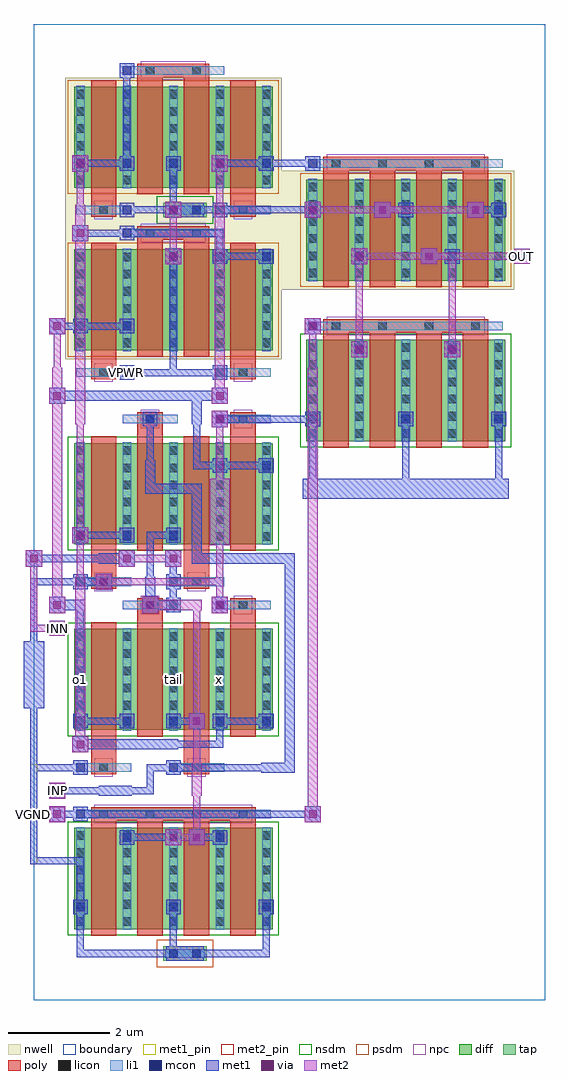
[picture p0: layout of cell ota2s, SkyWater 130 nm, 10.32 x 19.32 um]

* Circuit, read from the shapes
.subckt ota2s INN INP OUT VBN VGND VPWR o1 tail x
XM1 tail VBN VGND VGND sky130_fd_pr__nfet_01v8 w=2 l=0.5 m=4
XM2 o1 VGND o1 VGND sky130_fd_pr__nfet_01v8 w=2 l=0.5 m=2
XM3 x VGND x VGND sky130_fd_pr__nfet_01v8 w=2 l=0.5 m=2
XM4 tail INN o1 VGND sky130_fd_pr__nfet_01v8 w=2 l=0.5 m=2
XM5 tail INP x VGND sky130_fd_pr__nfet_01v8 w=2 l=0.5 m=2
XM6 OUT VBN VGND VGND sky130_fd_pr__nfet_01v8 w=2 l=0.5 m=4
XM7 o1 VPWR o1 VPWR sky130_fd_pr__pfet_01v8 w=2 l=0.5 m=2
XM8 x VPWR x VPWR sky130_fd_pr__pfet_01v8 w=2 l=0.5 m=2
XM9 VPWR x o1 VPWR sky130_fd_pr__pfet_01v8 w=2 l=0.5 m=2
XM10 VPWR x x VPWR sky130_fd_pr__pfet_01v8 w=2 l=0.5 m=2
XM11 OUT o1 VPWR VPWR sky130_fd_pr__pfet_01v8 w=2 l=0.5 m=4
.ends

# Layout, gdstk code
import gdstk
lib = gdstk.Library(unit=1e-6, precision=1e-09)
def R(c, l, rs):  # rectangles x0, y0, x1, y1
    for r in rs: c.add(gdstk.rectangle(r[:2], r[2:], *l))
def A(c, l, x, y, w, h, nx, ny, dx, dy):  # array of equal rectangles
    R(c, l, [(x+i*dx, y+j*dy, x+i*dx+w, y+j*dy+h) for i in range(nx) for j in range(ny)])
nwell = (64, 20)
diff = (65, 20)
tap = (65, 44)
poly = (66, 20)
licon = (66, 44)
li1 = (67, 20)
mcon = (67, 44)
met1_pin = (68, 16)
met1 = (68, 20)
via = (68, 44)
met2_pin = (69, 16)
met2 = (69, 20)
nsdm = (93, 44)
psdm = (94, 20)
npc = (95, 20)
boundary = (235, 4)

ota2s = lib.new_cell('ota2s')
R(ota2s, nwell, [(0.615,12.68,4.905,14.06), (0.615,14.06,9.505,16.42), (0.615,16.42,4.905,18.26)])
R(ota2s, diff, [(0.795,1.405,4.725,3.405), (0.795,5.345,4.725,7.345), (0.795,9.025,4.725,11.025), (5.395,11.065,9.325,13.065), (0.795,12.86,4.725,14.86), (5.395,14.24,9.325,16.24), (0.795,16.08,4.725,18.08)])
R(ota2s, tap, [(2.555,0.775,3.425,1.065), (2.555,15.495,3.425,15.785)])
A(ota2s, poly, 1.13, 1.275, 0.5, 2.405, 4, 1, 0.92, 0)
A(ota2s, poly, 5.73, 10.935, 0.5, 2.405, 4, 1, 0.92, 0)
A(ota2s, poly, 5.73, 14.11, 0.5, 2.45, 4, 1, 0.92, 0)
R(ota2s, poly, [(1.13,3.545,4.39,3.815), (1.13,4.465,1.63,4.735), (2.97,4.465,3.47,4.735), (1.13,4.6,1.63,7.475), (2.97,4.6,3.47,7.475), (2.05,5.215,2.55,7.82), (3.89,5.215,4.39,7.82), (2.05,7.685,2.55,7.955), (3.89,7.685,4.39,7.955), (1.13,8.145,1.63,8.415), (2.97,8.145,3.47,8.415), (1.13,8.28,1.63,11.155), (2.97,8.28,3.47,11.155), (2.05,8.895,2.55,11.5), (3.89,8.895,4.39,11.5), (2.05,11.365,2.55,11.635), (3.89,11.365,4.39,11.635), (1.13,12.285,1.63,12.555), (3.89,12.285,4.39,12.555), (1.13,12.42,1.63,14.99), (3.89,12.42,4.39,14.99), (2.05,12.73,2.55,15.18), (2.97,12.73,3.47,15.18), (5.73,13.205,8.99,13.475), (2.05,15.045,3.47,15.315), (1.13,15.505,1.63,15.775), (3.89,15.505,4.39,15.775), (1.13,15.64,1.63,18.21), (3.89,15.64,4.39,18.21), (2.05,15.95,2.55,18.4), (2.97,15.95,3.47,18.4), (5.73,16.425,8.99,16.695), (2.05,18.265,3.47,18.535)])
A(ota2s, licon, 3.135, 0.835, 0.17, 0.17, 1, 3, 0, 3.68)
A(ota2s, licon, 0.835, 1.47, 0.17, 0.17, 5, 6, 0.92, 0.34)
A(ota2s, licon, 1.295, 3.595, 0.17, 0.17, 4, 1, 0.92, 0)
A(ota2s, licon, 0.835, 5.41, 0.17, 0.17, 5, 6, 0.92, 0.34)
A(ota2s, licon, 2.215, 7.735, 0.17, 0.17, 1, 3, 0, 3.68)
A(ota2s, licon, 0.835, 9.09, 0.17, 0.17, 5, 6, 0.92, 0.34)
A(ota2s, licon, 5.435, 11.13, 0.17, 0.17, 5, 6, 0.92, 0.34)
A(ota2s, licon, 0.835, 12.925, 0.17, 0.17, 5, 6, 0.92, 0.34)
A(ota2s, licon, 5.895, 13.255, 0.17, 0.17, 4, 2, 0.92, 3.22)
A(ota2s, licon, 5.435, 14.305, 0.17, 0.17, 5, 6, 0.92, 0.34)
A(ota2s, licon, 0.835, 16.145, 0.17, 0.17, 5, 6, 0.92, 0.34)
R(ota2s, licon, [(2.675,0.835,2.845,1.005), (1.295,4.515,1.465,4.685), (4.055,7.735,4.225,7.905), (1.295,8.195,1.465,8.365), (4.055,11.415,4.225,11.585), (1.295,12.335,1.465,12.505), (4.055,12.335,4.225,12.505), (3.135,15.095,3.305,15.265), (1.295,15.555,1.465,15.725), (2.675,15.555,2.845,15.725), (3.135,15.555,3.305,15.725), (4.055,15.555,4.225,15.725), (2.215,18.315,2.385,18.485), (3.135,18.315,3.305,18.485)])
A(ota2s, li1, 0.835, 1.39, 0.17, 2.03, 5, 2, 0.92, 3.94)
A(ota2s, li1, 0.835, 9.01, 0.17, 2.03, 5, 2, 0.92, 3.835)
A(ota2s, li1, 5.435, 11.05, 0.17, 2.03, 5, 2, 0.92, 3.175)
A(ota2s, li1, 0.835, 16.065, 0.17, 2.03, 5, 1, 0.92, 0)
R(ota2s, li1, [(2.595,0.835,3.385,1.005), (0.835,3.595,4.685,3.765), (0.835,4.515,1.925,4.685), (2.675,4.515,3.765,4.685), (1.755,7.735,2.845,7.905), (3.595,7.735,4.685,7.905), (0.835,8.195,1.925,8.365), (2.675,8.195,3.765,8.365), (1.755,11.415,2.845,11.585), (3.595,11.415,4.685,11.585), (0.835,12.335,1.925,12.505), (3.595,12.335,4.685,12.505), (5.435,13.255,9.285,13.425), (1.755,15.095,3.765,15.265), (0.835,15.555,1.925,15.725), (2.595,15.555,3.385,15.725), (3.595,15.555,4.685,15.725), (5.435,16.475,9.285,16.645), (1.755,18.315,3.765,18.485)])
A(ota2s, mcon, 0.835, 1.755, 0.17, 0.17, 3, 1, 1.84, 0)
A(ota2s, mcon, 0.835, 5.435, 0.17, 0.17, 5, 1, 0.92, 0)
A(ota2s, mcon, 0.835, 9.115, 0.17, 0.17, 3, 1, 0.92, 0)
A(ota2s, mcon, 3.595, 11.415, 0.17, 0.17, 4, 1, 1.84, 0)
A(ota2s, mcon, 2.675, 14.635, 0.17, 0.17, 3, 1, 0.92, 0)
A(ota2s, mcon, 2.675, 15.555, 0.17, 0.17, 3, 1, 0.46, 0)
A(ota2s, mcon, 5.435, 15.555, 0.17, 0.17, 3, 1, 1.84, 0)
A(ota2s, mcon, 0.835, 16.475, 0.17, 0.17, 6, 1, 0.92, 0)
R(ota2s, mcon, [(2.675,0.835,2.845,1.005), (3.135,0.835,3.305,1.005), (1.755,3.135,1.925,3.305), (3.595,3.135,3.765,3.305), (0.835,3.595,1.005,3.765), (0.835,4.515,1.005,4.685), (2.675,4.515,2.845,4.685), (2.675,7.735,2.845,7.905), (3.595,7.735,3.765,7.905), (0.835,8.195,1.005,8.365), (2.675,8.195,2.845,8.365), (3.595,10.495,3.765,10.665), (4.515,10.495,4.685,10.665), (2.215,11.415,2.385,11.585), (1.755,12.335,1.925,12.505), (3.595,12.335,3.765,12.505), (6.355,12.795,6.525,12.965), (8.195,12.795,8.365,12.965), (0.835,13.255,1.005,13.425), (1.755,13.255,1.925,13.425), (5.435,13.255,5.605,13.425), (6.355,14.635,6.525,14.805), (8.195,14.635,8.365,14.805), (1.755,15.095,1.925,15.265), (1.755,15.555,1.925,15.725), (1.755,18.315,1.925,18.485)])
R(ota2s, met1_pin, [(-0.07,2.69,0.07,4.67), (1.695,12.275,1.985,12.565)])
A(ota2s, met1, 0.85, 0.85, 0.14, 1.06, 3, 1, 1.84, 0)
A(ota2s, met1, 0.775, 1.695, 0.29, 0.29, 3, 1, 1.84, 0)
A(ota2s, met1, 0.775, 5.375, 0.29, 0.29, 5, 1, 0.92, 0)
A(ota2s, met1, 0.775, 9.055, 0.29, 0.29, 3, 1, 0.92, 0)
A(ota2s, met1, 5.45, 10.05, 0.14, 1.52, 3, 1, 1.84, 0)
A(ota2s, met1, 3.535, 11.355, 0.29, 0.29, 4, 1, 1.84, 0)
A(ota2s, met1, 2.615, 14.575, 0.29, 0.29, 3, 1, 0.92, 0)
A(ota2s, met1, 1.695, 15.495, 0.29, 0.29, 5, 1, 1.84, 0)
A(ota2s, met1, 0.775, 16.415, 0.29, 0.29, 6, 1, 0.92, 0)
R(ota2s, met1, [(2.615,0.775,3.365,1.065), (0.85,0.85,2.83,0.99), (2.69,0.85,4.67,0.99), (2.69,0.85,2.83,0.99), (0.85,1.77,0.99,2.83), (-0.07,2.69,0.99,2.83), (-0.07,2.69,0.07,4.67), (2.6,3.06,2.92,3.38), (3.06,3.06,3.38,3.38), (1.695,3.075,1.985,3.365), (3.535,3.075,3.825,3.365), (1.77,3.15,2.83,3.29), (3.15,3.15,3.75,3.29), (0.3,3.52,0.62,3.84), (5.36,3.52,5.68,3.84), (0.775,3.535,1.065,3.825), (0.39,3.61,0.99,3.75), (0.85,3.61,5.59,3.75), (0.3,3.98,0.62,4.3), (1.28,4.04,1.94,4.24), (0.39,4.07,1.45,4.21), (1.77,4.07,2.37,4.21), (2.23,4.07,2.37,4.67), (0.775,4.455,1.065,4.745), (2.615,4.455,2.905,4.745), (4.5,4.5,5.16,4.7), (4.96,4.5,5.16,8.84), (-0.07,4.53,0.99,4.67), (-0.07,4.53,0.07,6.05), (2.23,4.53,2.83,4.67), (2.69,4.53,4.67,4.67), (0.76,4.9,1.08,5.22), (0.82,4.96,2.86,5.16), (2.69,4.99,3.75,5.13), (3.61,4.99,3.75,5.59), (3.06,5.36,3.38,5.68), (0.85,5.45,1.91,5.59), (0.85,5.45,0.99,7.89), (2.69,5.45,3.29,5.59), (3.61,5.45,4.67,5.59), (-0.2,5.78,0.2,7.1), (-0.07,6.83,0.07,8.35), (0.3,7.66,0.62,7.98), (2.14,7.66,2.46,7.98), (3.52,7.66,3.84,7.98), (2.615,7.675,2.905,7.965), (3.535,7.675,3.825,7.965), (0.36,7.72,1.02,7.92), (2.2,7.72,2.4,8.38), (2.69,7.75,2.83,8.35), (1.22,8.12,1.54,8.44), (0.775,8.135,1.065,8.425), (2.615,8.135,2.905,8.425), (-0.07,8.21,0.99,8.35), (0.85,8.21,1.45,8.35), (2.23,8.21,2.37,9.27), (2.69,8.21,2.83,8.81), (-0.16,8.58,0.16,8.9), (1.68,8.58,2,8.9), (2.6,8.58,2.92,8.9), (1.28,8.64,1.94,8.84), (3.12,8.64,5.16,8.84), (3.12,8.64,3.32,10.22), (-0.07,8.67,1.45,8.81), (0.76,9.04,1.08,9.36), (0.85,9.13,1.91,9.27), (2.23,9.13,2.83,9.27), (5.32,9.92,7.56,10.32), (7.16,9.92,9.4,10.32), (2.2,10.02,2.4,10.68), (2.2,10.02,3.32,10.22), (3.535,10.435,3.825,10.725), (4.455,10.435,4.745,10.725), (2.23,10.51,2.37,11.57), (3.15,10.51,3.29,11.57), (3.15,10.51,3.75,10.65), (3.61,10.51,4.67,10.65), (3.52,11.34,3.84,11.66), (2.155,11.355,2.445,11.645), (3.12,11.4,3.32,12.06), (3.61,11.43,5.59,11.57), (0.3,11.8,0.62,12.12), (3.52,11.8,3.84,12.12), (0.36,11.86,3.32,12.06), (3.12,11.86,3.78,12.06), (1.695,12.275,1.985,12.565), (3.535,12.275,3.825,12.565), (1.77,12.35,2.83,12.49), (2.69,12.35,3.75,12.49), (2.69,12.35,2.83,14.79), (6.28,12.72,6.6,13.04), (8.12,12.72,8.44,13.04), (6.295,12.735,6.585,13.025), (8.135,12.735,8.425,13.025), (0.3,13.18,0.62,13.5), (5.36,13.18,5.68,13.5), (0.775,13.195,1.065,13.485), (1.695,13.195,1.985,13.485), (5.375,13.195,5.665,13.485), (0.39,13.27,0.99,13.41), (0.85,13.27,1.91,13.41), (2.6,14.56,2.92,14.88), (6.28,14.56,6.6,14.88), (7.66,14.56,7.98,14.88), (6.295,14.575,6.585,14.865), (8.135,14.575,8.425,14.865), (3.61,14.65,4.67,14.79), (3.61,14.65,3.75,15.25), (7.75,14.65,8.35,14.79), (0.76,15.02,1.08,15.34), (1.695,15.035,1.985,15.325), (0.85,15.11,1.91,15.25), (1.77,15.11,3.75,15.25), (2.6,15.48,2.92,15.8), (5.36,15.48,5.68,15.8), (6.74,15.48,7.06,15.8), (8.58,15.48,8.9,15.8), (2.615,15.495,3.365,15.785), (1.77,15.57,2.83,15.71), (2.69,15.57,2.83,16.63), (2.69,15.57,3.75,15.71), (2.69,15.57,2.83,15.71), (3.61,15.57,5.59,15.71), (6.83,15.57,7.43,15.71), (8.67,15.57,9.27,15.71), (0.76,16.4,1.08,16.72), (3.52,16.4,3.84,16.72), (0.85,16.49,1.91,16.63), (1.77,16.49,1.91,18.47), (3.61,16.49,4.67,16.63), (4.53,16.49,5.59,16.63), (1.695,18.255,1.985,18.545)])
R(ota2s, via, [(2.685,3.145,2.835,3.295), (3.145,3.145,3.295,3.295), (0.385,3.605,0.535,3.755), (5.445,3.605,5.595,3.755), (0.385,4.065,0.535,4.215), (0.845,4.985,0.995,5.135), (3.145,5.445,3.295,5.595), (0.385,7.745,0.535,7.895), (2.225,7.745,2.375,7.895), (3.605,7.745,3.755,7.895), (1.305,8.205,1.455,8.355), (-0.075,8.665,0.075,8.815), (1.765,8.665,1.915,8.815), (2.685,8.665,2.835,8.815), (0.845,9.125,0.995,9.275), (3.605,11.425,3.755,11.575), (0.385,11.885,0.535,12.035), (3.605,11.885,3.755,12.035), (6.365,12.805,6.515,12.955), (8.205,12.805,8.355,12.955), (0.385,13.265,0.535,13.415), (5.445,13.265,5.595,13.415), (2.685,14.645,2.835,14.795), (6.365,14.645,6.515,14.795), (7.745,14.645,7.895,14.795), (0.845,15.105,0.995,15.255), (2.685,15.565,2.835,15.715), (5.445,15.565,5.595,15.715), (6.825,15.565,6.975,15.715), (8.665,15.565,8.815,15.715), (0.845,16.485,0.995,16.635), (3.605,16.485,3.755,16.635)])
R(ota2s, met2_pin, [(0.31,3.53,0.61,3.83), (0.31,3.99,0.61,4.29), (0.31,7.21,0.61,7.51), (9.51,14.57,9.81,14.87)])
R(ota2s, met2, [(2.6,3.06,2.92,3.38), (3.06,3.06,3.38,3.38), (2.69,3.15,3.29,3.29), (3.15,3.15,3.29,4.21), (0.3,3.52,0.62,3.84), (5.36,3.52,5.68,3.84), (0.31,3.53,0.61,3.83), (5.42,3.58,5.62,12.52), (0.39,3.61,0.53,3.75), (0.3,3.98,0.62,4.3), (0.31,3.99,0.61,4.29), (3.12,4.04,3.32,4.7), (0.39,4.07,0.53,4.21), (3.15,4.53,3.29,5.59), (0.76,4.9,1.08,5.22), (0.82,4.96,1.02,8.38), (3.06,5.36,3.38,5.68), (3.15,5.45,3.29,7.89), (0.31,7.21,0.61,7.51), (-0.07,7.29,0.07,8.81), (-0.07,7.29,0.53,7.43), (0.39,7.29,0.53,7.43), (0.3,7.66,0.62,7.98), (2.14,7.66,2.46,7.98), (3.52,7.66,3.84,7.98), (0.36,7.72,0.56,12.52), (2.2,7.72,3.32,7.92), (3.61,7.75,3.75,8.35), (1.22,8.12,1.54,8.44), (0.85,8.21,0.99,9.27), (1.31,8.21,3.75,8.35), (3.61,8.21,3.75,9.27), (-0.16,8.58,0.16,8.9), (1.68,8.58,2,8.9), (2.6,8.58,2.92,8.9), (1.77,8.67,2.83,8.81), (3.48,9,3.88,10.32), (0.76,9.04,1.08,9.36), (0.85,9.13,0.99,11.57), (3.61,10.05,3.75,11.57), (3.52,11.34,3.84,11.66), (0.82,11.4,1.02,15.28), (0.3,11.8,0.62,12.12), (3.52,11.8,3.84,12.12), (3.58,11.86,3.78,15.74), (0.39,12.35,0.53,13.41), (5.45,12.35,5.59,13.41), (6.28,12.72,6.6,13.04), (8.12,12.72,8.44,13.04), (6.37,12.81,6.51,14.79), (8.21,12.81,8.35,14.79), (0.3,13.18,0.62,13.5), (5.36,13.18,5.68,13.5), (2.6,14.56,2.92,14.88), (6.28,14.56,6.6,14.88), (7.66,14.56,7.98,14.88), (9.51,14.57,9.81,14.87), (2.69,14.65,2.83,15.71), (6.37,14.65,7.89,14.79), (7.75,14.65,9.73,14.79), (9.59,14.65,9.73,14.79), (0.76,15.02,1.08,15.34), (0.82,15.08,1.02,15.74), (2.6,15.48,2.92,15.8), (5.36,15.48,5.68,15.8), (6.74,15.48,7.06,15.8), (8.58,15.48,8.9,15.8), (0.85,15.57,0.99,16.63), (3.61,15.57,3.75,16.63), (5.45,15.57,6.97,15.71), (6.83,15.57,8.81,15.71), (0.76,16.4,1.08,16.72), (3.52,16.4,3.84,16.72)])
R(ota2s, nsdm, [(0.67,1.28,4.85,3.53), (0.67,5.22,4.85,7.47), (0.67,8.9,4.85,11.15), (5.27,10.94,9.45,13.19), (2.43,15.37,3.55,15.91)])
R(ota2s, psdm, [(2.43,0.65,3.55,1.19), (0.67,12.735,4.85,14.985), (5.27,14.115,9.45,16.365), (0.67,15.955,4.85,18.205)])
R(ota2s, npc, [(1.195,3.495,4.325,3.865), (1.195,4.415,1.565,4.785), (3.035,4.415,3.405,4.785), (2.115,7.635,2.485,8.005), (3.955,7.635,4.325,8.005), (1.195,8.095,1.565,8.465), (3.035,8.095,3.405,8.465), (2.115,11.315,2.485,11.685), (3.955,11.315,4.325,11.685), (1.195,12.235,1.565,12.605), (3.955,12.235,4.325,12.605), (5.795,13.155,8.925,13.525), (2.115,14.995,3.405,15.365), (1.195,15.455,1.565,15.825), (3.955,15.455,4.325,15.825), (5.795,16.375,8.925,16.745), (2.115,18.215,3.405,18.585)])
R(ota2s, boundary, [(0,0,10.12,19.32)])
ota2s.add(gdstk.Label('o1', (0.92,6.345), layer=67, texttype=5))
ota2s.add(gdstk.Label('tail', (2.76,6.345), layer=67, texttype=5))
ota2s.add(gdstk.Label('x', (3.68,6.345), layer=67, texttype=5))
ota2s.add(gdstk.Label('VPWR', (1.84,12.42), layer=68, texttype=5))
ota2s.add(gdstk.Label('VGND', (0,3.68), layer=68, texttype=5))
ota2s.add(gdstk.Label('INP', (0.46,4.14), layer=69, texttype=5))
ota2s.add(gdstk.Label('INN', (0.46,7.36), layer=69, texttype=5))
ota2s.add(gdstk.Label('VBN', (0.46,3.68), layer=69, texttype=5))
ota2s.add(gdstk.Label('OUT', (9.66,14.72), layer=69, texttype=5))
ota2s.add(gdstk.Label('VPWR', (1.84,12.42), layer=68, texttype=16))
ota2s.add(gdstk.Label('VGND', (0,3.68), layer=68, texttype=16))
ota2s.add(gdstk.Label('INP', (0.46,4.14), layer=69, texttype=16))
ota2s.add(gdstk.Label('INN', (0.46,7.36), layer=69, texttype=16))
ota2s.add(gdstk.Label('VBN', (0.46,3.68), layer=69, texttype=16))
ota2s.add(gdstk.Label('OUT', (9.66,14.72), layer=69, texttype=16))

lib.write_gds('ota2s.gds')
